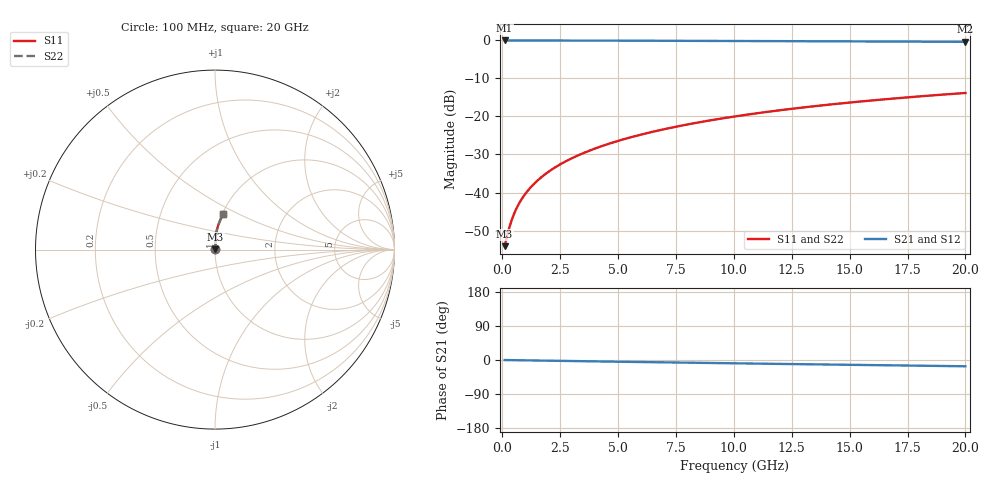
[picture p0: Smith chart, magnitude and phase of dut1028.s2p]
! Touchstone file exported from HFSS 2024.1.0
!  File:  C:/UserFiles/LocalFiles/RDL_TSV_Batchsim/temp_RDL_bottom_1028_1780051019.aedt
!  Generated:  06:39:54 PM May 29, 2026
!  Design:  RDL_bottom
!  Project:  temp_RDL_bottom_1028_1780051019
!  Setup:  Setup1
!  Solution:  Sweep
! Variables:
!  dtsv = 10.80580581um
!  hbump = 3um
!  htsv = 89.73um
!  ldown = 168.41um
!  lrdl = 100um
!  p = 40
!  p1 = 56.3um
!  rhole = 1um
!  t = 450um
!  tdown = 2.13um
!  trdl = 3.915915916um
!  wdown = 21.49um
!  wrdl = 20um
# GHz S MA R 50.000000
! Terminal data exported
! Port[1] = RDL1_T1
! Port[2] = RDL1_T2
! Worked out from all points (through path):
!   200 points, 100 MHz to 20 GHz, reference 50 ohm
!   highest |S21| = -0.01 dB at 100 MHz (marker M1); lowest = -0.4 dB at 20 GHz (marker M2)
!   group delay of S21, straight-line fit = 2.28 ps
!   lowest |S11| = -54.1 dB at 100 MHz (marker M3), VSWR 1.00, Z = 50.2 + j0.0991 ohm
!   |S11| at or under -10 dB: start of sweep to end of sweep
!   |S22| runs from -54.1 to -13.8 dB; largest |S21 - S12| = 3.6e-15
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0.1  0.001971 30.1  0.9983 -0.1  0.9983 -0.1  0.001971 30.1
! Gamma 0 0 0 0
! Port Impedance 50 0 50 0
0.3  0.003428 58.9  0.9982 -0.3  0.9982 -0.3  0.003428 58.9
0.4  0.004291 65.0  0.9981 -0.4  0.9981 -0.4  0.004291 65.0
0.5  0.005174 69.0  0.9981 -0.5  0.9981 -0.5  0.005174 69.0
0.6  0.006065 71.8  0.998 -0.6  0.998 -0.6  0.006065 71.8
0.8  0.007855 75.6  0.9979 -0.8  0.9979 -0.8  0.007855 75.6
1.1  0.01056 79.0  0.9977 -1.0  0.9977 -1.0  0.01056 79.0
1.3  0.01237 80.6  0.9975 -1.2  0.9975 -1.2  0.01237 80.6
1.6  0.01511 82.2  0.9973 -1.5  0.9973 -1.5  0.01511 82.2
2.1  0.01972 84.0  0.9968 -1.9  0.9968 -1.9  0.01972 84.0
2.7  0.02534 85.4  0.9961 -2.5  0.9961 -2.5  0.02534 85.4
3.5  0.03298 86.4  0.9951 -3.2  0.9951 -3.2  0.03298 86.4
4.2  0.03979 86.9  0.994 -3.8  0.994 -3.8  0.03979 86.9
5  0.04771 87.1  0.9926 -4.5  0.9926 -4.5  0.04771 87.1
5.9  0.0568 87.1  0.9909 -5.3  0.9909 -5.3  0.0568 87.1
6.8  0.06603 86.9  0.9891 -6.1  0.9891 -6.1  0.06603 86.9
8.4  0.08273 86.2  0.9857 -7.4  0.9857 -7.4  0.08272 86.2
10.1  0.1007 85.1  0.982 -8.8  0.982 -8.8  0.1007 85.1
11.7  0.1177 83.9  0.9783 -10.1  0.9783 -10.1  0.1177 83.9
13.4  0.1356 82.5  0.9744 -11.5  0.9744 -11.5  0.1356 82.5
16.7  0.1701 79.7  0.9664 -14.0  0.9664 -14.0  0.1701 79.7
20  0.2036 76.9  0.9579 -16.6  0.9579 -16.6  0.2036 76.9
